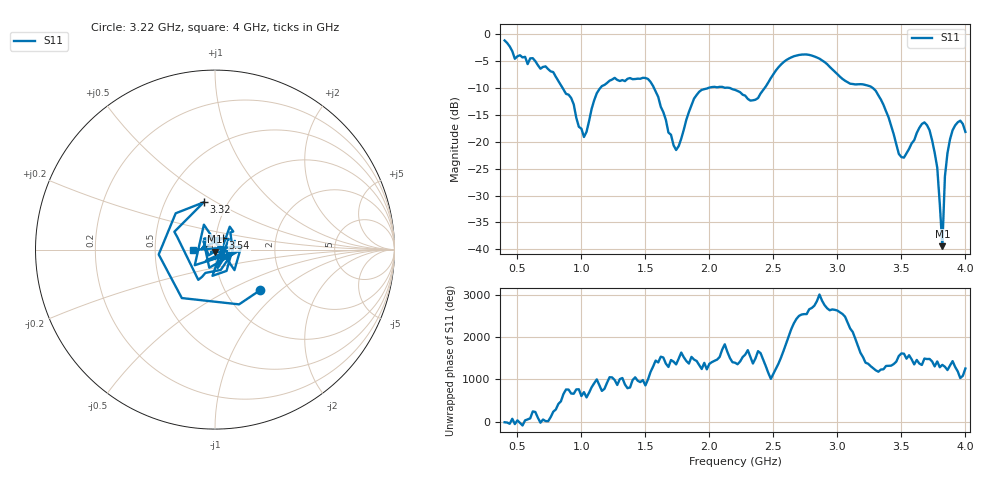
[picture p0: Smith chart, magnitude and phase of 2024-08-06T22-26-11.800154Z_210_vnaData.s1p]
!Created with skrf (http://scikit-rf.org).
# Hz S RI R 50.0
!freq ReS11 ImS11
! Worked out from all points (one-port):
!   181 points, 400 MHz to 4 GHz, reference 50 ohm
!   lowest |S11| = -39.4 dB at 3.82 GHz (marker M1), VSWR 1.02, Z = 49.9 - j1.07 ohm
!   |S11| at or under -10 dB: 853.7 MHz to 1.147 GHz (293.3 MHz wide, 29.3 % of centre); 1.568 GHz to 1.989 GHz (421.4 MHz wide, 23.7 % of centre); 3.278 GHz to end of sweep (the widest 3 of 4)
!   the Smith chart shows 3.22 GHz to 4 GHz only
!   S11 on the Smith chart (normalised r, x): 3.22 GHz: 1.44, -0.74; 3.32 GHz: 0.77, +0.44; 3.54 GHz: 1.09, +0.14; 4 GHz: 0.78, -0.00
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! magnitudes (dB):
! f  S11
! 400 MHz  -1.1
! 480 MHz  -4.5
! 860 MHz  -10.2
! 1.02 GHz  -19.1
! 1.14 GHz  -10.2
! 1.3 GHz  -8.7
! 1.52 GHz  -8.3
! 1.72 GHz  -20.6
! 1.76 GHz  -20.8
! 1.92 GHz  -10.7
! 2.2 GHz  -10.3
! 2.36 GHz  -12.2
! 2.66 GHz  -4.1
! 2.86 GHz  -4.5
! 3.1 GHz  -9.2
! 3.22 GHz  -9.4
! 3.32 GHz  -11.3
! 3.48 GHz  -22.2
! 3.54 GHz  -22.1
! 3.56 GHz  -21.3
! 3.66 GHz  -16.7
! 3.72 GHz  -17.8
! 3.78 GHz  -24.8
! 3.82 GHz  -39.4
! 3.84 GHz  -26.4
! 3.88 GHz  -19.5
! 3.96 GHz  -16.1
! 4 GHz  -18.1
